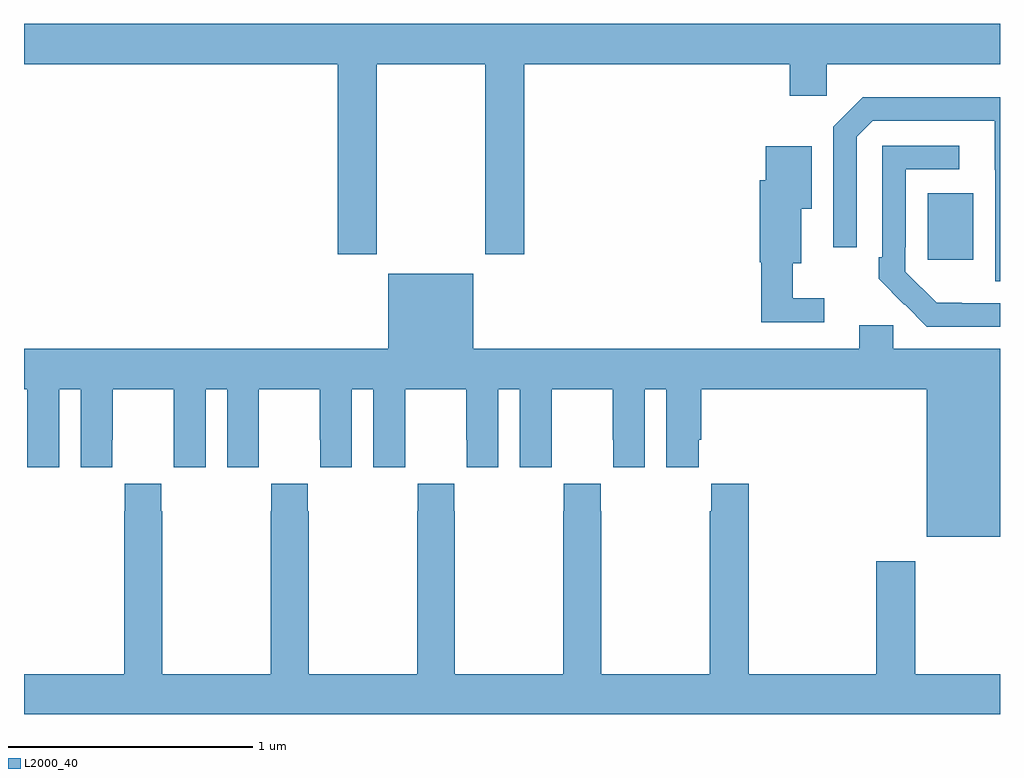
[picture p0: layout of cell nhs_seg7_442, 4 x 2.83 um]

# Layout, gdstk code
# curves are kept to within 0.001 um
import gdstk
lib = gdstk.Library(unit=1e-6, precision=1e-09)
def R(c, l, rs):  # rectangles x0, y0, x1, y1
    for r in rs: c.add(gdstk.rectangle(r[:2], r[2:], *l))
def P(c, l, *ps):  # polygons
    for p in ps: c.add(gdstk.Polygon(p, *l))
L2000_40 = (2000, 40)

nhs_seg7_442 = lib.new_cell('nhs_seg7_442')
R(nhs_seg7_442, L2000_40, [(148.703,1014.465,148.891,1014.739)])
P(nhs_seg7_442, L2000_40, [(146.445,1015.268),(146.89,1015.268),(146.89,1014.489),(147.05,1014.489),(147.05,1015.268),(148.139,1015.268),(148.139,1015.137),(148.29,1015.137),(148.29,1015.268),(149,1015.268),(149,1015.432),(145,1015.432),(145,1015.268),(146.285,1015.268),(146.285,1014.489),(146.445,1014.489)],
  [(149,1015.132),(148.438,1015.132),(148.317,1015.011),(148.317,1014.516),(148.413,1014.516),(148.413,1014.969),(148.479,1015.035),(148.979,1015.035),(148.979,1014.835),(148.98,1014.835),(148.98,1014.378),(149,1014.378)],
  [(149,1014.288),(148.74,1014.289),(148.611,1014.417),(148.611,1014.517),(148.614,1014.517),(148.614,1014.837),(148.834,1014.837),(148.834,1014.933),(148.518,1014.933),(148.518,1014.475),(148.503,1014.475),(148.503,1014.387),(148.7,1014.192),(149,1014.192)],
  [(148.279,1014.307),(148.15,1014.307),(148.15,1014.452),(148.186,1014.452),(148.186,1014.674),(148.228,1014.674),(148.228,1014.931),(148.04,1014.931),(148.04,1014.792),(148.016,1014.792),(148.016,1014.456),(148.021,1014.456),(148.021,1014.21),(148.279,1014.21)],
  [(149,1014.1),(148.563,1014.1),(148.563,1014.198),(148.424,1014.198),(148.424,1014.1),(146.842,1014.1),(146.842,1014.409),(146.492,1014.409),(146.492,1014.1),(145,1014.1),(145,1013.936),(145.013,1013.936),(145.013,1013.728),(145.014,1013.728),(145.014,1013.616),(145.144,1013.616),(145.144,1013.936),(145.232,1013.936),(145.232,1013.616),(145.362,1013.616),(145.362,1013.728),(145.363,1013.728),(145.363,1013.936),(145.613,1013.936),(145.613,1013.728),(145.614,1013.728),(145.614,1013.616),(145.744,1013.616),(145.744,1013.936),(145.832,1013.936),(145.832,1013.616),(145.962,1013.616),(145.962,1013.728),(145.963,1013.728),(145.963,1013.936),(146.213,1013.936),(146.213,1013.728),(146.214,1013.728),(146.214,1013.616),(146.344,1013.616),(146.344,1013.936),(146.432,1013.936),(146.432,1013.616),(146.562,1013.616),(146.562,1013.728),(146.563,1013.728),(146.563,1013.936),(146.813,1013.936),(146.813,1013.728),(146.814,1013.728),(146.814,1013.616),(146.944,1013.616),(146.944,1013.936),(147.032,1013.936),(147.032,1013.616),(147.162,1013.616),(147.162,1013.728),(147.163,1013.728),(147.163,1013.936),(147.413,1013.936),(147.413,1013.728),(147.414,1013.728),(147.414,1013.616),(147.544,1013.616),(147.544,1013.936),(147.632,1013.936),(147.632,1013.616),(147.766,1013.616),(147.766,1013.728),(147.776,1013.728),(147.776,1013.936),(148.7,1013.936),(148.7,1013.33),(149,1013.33)],
  [(149,1012.768),(148.653,1012.768),(148.653,1013.23),(148.493,1013.23),(148.493,1012.768),(147.971,1012.768),(147.971,1013.548),(147.817,1013.548),(147.817,1013.435),(147.811,1013.435),(147.811,1012.768),(147.366,1012.768),(147.366,1013.435),(147.363,1013.435),(147.363,1013.548),(147.213,1013.548),(147.213,1013.435),(147.211,1013.435),(147.211,1012.768),(146.766,1012.768),(146.766,1013.435),(146.763,1013.435),(146.763,1013.548),(146.613,1013.548),(146.613,1013.435),(146.611,1013.435),(146.611,1012.768),(146.166,1012.768),(146.166,1013.435),(146.163,1013.435),(146.163,1013.548),(146.013,1013.548),(146.013,1013.435),(146.011,1013.435),(146.011,1012.768),(145.566,1012.768),(145.566,1013.435),(145.563,1013.435),(145.563,1013.548),(145.413,1013.548),(145.413,1013.435),(145.411,1013.435),(145.411,1012.768),(145,1012.768),(145,1012.604),(149,1012.604)])

lib.write_gds('nhs_seg7_442.gds')
